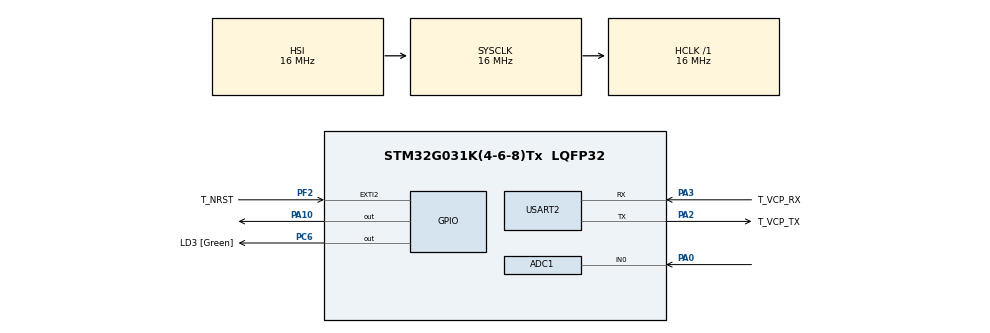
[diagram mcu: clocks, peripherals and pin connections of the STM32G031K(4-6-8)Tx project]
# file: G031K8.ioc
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ADC1.Channel-0\#ChannelRegularConversion=ADC_CHANNEL_0
ADC1.NbrOfConversionFlag=1
ADC1.Rank-0\#ChannelRegularConversion=1
ADC1.SamplingTime-0\#ChannelRegularConversion=ADC_SAMPLINGTIME_COMMON_1
ADC1.SelectedChannel=ADC_CHANNEL_0
ADC1.master=1
Dma.Request0=USART2_TX
Dma.USART2_TX.0.Direction=DMA_MEMORY_TO_PERIPH
Dma.USART2_TX.0.EventEnable=DISABLE
Dma.USART2_TX.0.Instance=DMA1_Channel1
Dma.USART2_TX.0.MemDataAlignment=DMA_MDATAALIGN_BYTE
Dma.USART2_TX.0.MemInc=DMA_MINC_ENABLE
Dma.USART2_TX.0.Mode=DMA_NORMAL
Dma.USART2_TX.0.PeriphDataAlignment=DMA_PDATAALIGN_BYTE
Dma.USART2_TX.0.PeriphInc=DMA_PINC_DISABLE
Dma.USART2_TX.0.Polarity=HAL_DMAMUX_REQ_GEN_RISING
Dma.USART2_TX.0.Priority=DMA_PRIORITY_LOW
Dma.USART2_TX.0.RequestNumber=1
Dma.USART2_TX.0.SignalID=NONE
Dma.USART2_TX.0.SyncEnable=DISABLE
Dma.USART2_TX.0.SyncPolarity=HAL_DMAMUX_SYNC_NO_EVENT
Dma.USART2_TX.0.SyncRequestNumber=1
Dma.USART2_TX.0.SyncSignalID=NONE
Mcu.Family=STM32G0
Mcu.Name=STM32G031K(4-6-8)Tx
Mcu.Package=LQFP32
NVIC.DMA1_Channel1_IRQn=true\:0\:0\:false\:false\:true\:false\:true
PA0.Mode=IN0
PA0.Signal=ADC1_IN0
PA10.Signal=GPIO_Output
PA13.GPIO_Label=T_JTMS
PA13.Mode=Serial_Wire
PA13.Signal=SYS_SWDIO
PA14-BOOT0.GPIO_Label=T_JTCK
PA14-BOOT0.Mode=Serial_Wire
PA14-BOOT0.Signal=SYS_SWCLK
PA2.GPIO_Label=T_VCP_TX
PA2.GPIO_PuPd=GPIO_PULLUP
PA2.Mode=Asynchronous
PA2.Signal=USART2_TX
PA3.GPIO_Label=T_VCP_RX
PA3.GPIO_PuPd=GPIO_PULLUP
PA3.Mode=Asynchronous
PA3.Signal=USART2_RX
PC14-OSC32_IN\ (PC14).Mode=LSE-External-Oscillator
PC14-OSC32_IN\ (PC14).Signal=RCC_OSC32_IN
PC15-OSC32_OUT\ (PC15).Mode=LSE-External-Oscillator
PC15-OSC32_OUT\ (PC15).Signal=RCC_OSC32_OUT
PC6.GPIO_Label=LD3 [Green]
PC6.Signal=GPIO_Output
PF2\ -\ NRST.GPIO_Label=T_NRST
PF2\ -\ NRST.Signal=GPXTI2
ProjectManager.HeapSize=0x200
ProjectManager.StackSize=0x400
ProjectManager.TargetToolchain=STM32CubeIDE
RCC.AHBFreq_Value=16000000
RCC.CortexFreq_Value=16000000
RCC.EXTERNAL_CLOCK_VALUE=12288000
RCC.HCLKFreq_Value=16000000
RCC.HSE_VALUE=8000000
RCC.HSI_VALUE=16000000
RCC.SYSCLKFreq_VALUE=16000000
RCC.VCOOutputFreq_Value=128000000
USART2.VirtualMode-Asynchronous=VM_ASYNC
USART2.WordLength=WORDLENGTH_7B
board=NUCLEO-G031K8

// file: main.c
/* USER CODE BEGIN Header */
/**
  ******************************************************************************
  * @file           : main.c
  * @brief          : Main program body
  ******************************************************************************
  * @attention
  *
  * <h2><center>&copy; Copyright (c) 2020 STMicroelectronics.
  * All rights reserved.</center></h2>
  *
  * This software component is licensed by ST under BSD 3-Clause license,
  * the "License"; You may not use this file except in compliance with the
  * License. You may obtain a copy of the License at:
  *                        opensource.org/licenses/BSD-3-Clause
  *
  ******************************************************************************
  */
/* USER CODE END Header */
#include "main.h"

/* USER CODE BEGIN Includes */
#include <string.h>
#include <stdio.h>
/* USER CODE END Includes */

ADC_HandleTypeDef hadc1;

UART_HandleTypeDef huart2;
DMA_HandleTypeDef hdma_usart2_tx;

void SystemClock_Config(void);
static void MX_GPIO_Init(void);
static void MX_DMA_Init(void);
static void MX_USART2_UART_Init(void);
static void MX_ADC1_Init(void);
/* USER CODE BEGIN PFP */
void DMATransferComplete(DMA_HandleTypeDef *hdma);
/* USER CODE END PFP */

int main(void)
{
  /* USER CODE BEGIN 1 */
  char msg[] =  "Long boat holystone pirate log driver hulk nipperkin cog. " \
				"Buccaneer me lass poop deck spyglass maroon jib spike. Come" \
				"about maroon skysail Corsair bilge water Arr long clothes " \
				"transom.\r\n";
  /* USER CODE END 1 */

  /* MCU Configuration--------------------------------------------------------*/

  /* Reset of all peripherals, Initializes the Flash interface and the Systick. */
  HAL_Init();

  /* Configure the system clock */
  SystemClock_Config();

  /* Initialize all configured peripherals */
  MX_GPIO_Init();
  MX_DMA_Init();
  MX_USART2_UART_Init();
  MX_ADC1_Init();
  /* USER CODE BEGIN 2 */
  HAL_DMA_RegisterCallback(&hdma_usart2_tx, HAL_DMA_XFER_CPLT_CB_ID, &DMATransferComplete);
  /* USER CODE END 2 */

  /* Infinite loop */
  /* USER CODE BEGIN WHILE */
  while (1)
  {
	huart2.Instance->CR3 |= USART_CR3_DMAT;
	HAL_DMA_Start_IT(&hdma_usart2_tx, (uint32_t)msg,
					(uint32_t)&huart2.Instance->TDR, strlen(msg));

	HAL_Delay(1000);

    /* USER CODE END WHILE */

  }
}

void SystemClock_Config(void)
{
  RCC_OscInitTypeDef RCC_OscInitStruct = {0};
  RCC_ClkInitTypeDef RCC_ClkInitStruct = {0};
  RCC_PeriphCLKInitTypeDef PeriphClkInit = {0};

  /** Configure the main internal regulator output voltage
  */
  HAL_PWREx_ControlVoltageScaling(PWR_REGULATOR_VOLTAGE_SCALE1);
  /** Initializes the RCC Oscillators according to the specified parameters
  * in the RCC_OscInitTypeDef structure.
  */
  RCC_OscInitStruct.OscillatorType = RCC_OSCILLATORTYPE_HSI;
  RCC_OscInitStruct.HSIState = RCC_HSI_ON;
  RCC_OscInitStruct.HSIDiv = RCC_HSI_DIV1;
  RCC_OscInitStruct.HSICalibrationValue = RCC_HSICALIBRATION_DEFAULT;
  RCC_OscInitStruct.PLL.PLLState = RCC_PLL_NONE;
  if (HAL_RCC_OscConfig(&RCC_OscInitStruct) != HAL_OK)
  {
    Error_Handler();
  }
  /** Initializes the CPU, AHB and APB buses clocks
  */
  RCC_ClkInitStruct.ClockType = RCC_CLOCKTYPE_HCLK|RCC_CLOCKTYPE_SYSCLK
                              |RCC_CLOCKTYPE_PCLK1;
  RCC_ClkInitStruct.SYSCLKSource = RCC_SYSCLKSOURCE_HSI;
  RCC_ClkInitStruct.AHBCLKDivider = RCC_SYSCLK_DIV1;
  RCC_ClkInitStruct.APB1CLKDivider = RCC_HCLK_DIV1;

  if (HAL_RCC_ClockConfig(&RCC_ClkInitStruct, FLASH_LATENCY_0) != HAL_OK)
  {
    Error_Handler();
  }
  /** Initializes the peripherals clocks
  */
  PeriphClkInit.PeriphClockSelection = RCC_PERIPHCLK_ADC;
  PeriphClkInit.AdcClockSelection = RCC_ADCCLKSOURCE_SYSCLK;
  if (HAL_RCCEx_PeriphCLKConfig(&PeriphClkInit) != HAL_OK)
  {
    Error_Handler();
  }
}

static void MX_ADC1_Init(void)
{

  ADC_ChannelConfTypeDef sConfig = {0};

  /** Configure the global features of the ADC (Clock, Resolution, Data Alignment and number of conversion)
  */
  hadc1.Instance = ADC1;
  hadc1.Init.ClockPrescaler = ADC_CLOCK_SYNC_PCLK_DIV2;
  hadc1.Init.Resolution = ADC_RESOLUTION_12B;
  hadc1.Init.DataAlign = ADC_DATAALIGN_RIGHT;
  hadc1.Init.ScanConvMode = ADC_SCAN_DISABLE;
  hadc1.Init.EOCSelection = ADC_EOC_SINGLE_CONV;
  hadc1.Init.LowPowerAutoWait = DISABLE;
  hadc1.Init.LowPowerAutoPowerOff = DISABLE;
  hadc1.Init.ContinuousConvMode = DISABLE;
  hadc1.Init.NbrOfConversion = 1;
  hadc1.Init.DiscontinuousConvMode = DISABLE;
  hadc1.Init.ExternalTrigConv = ADC_SOFTWARE_START;
  hadc1.Init.ExternalTrigConvEdge = ADC_EXTERNALTRIGCONVEDGE_NONE;
  hadc1.Init.DMAContinuousRequests = DISABLE;
  hadc1.Init.Overrun = ADC_OVR_DATA_PRESERVED;
  hadc1.Init.SamplingTimeCommon1 = ADC_SAMPLETIME_1CYCLE_5;
  hadc1.Init.SamplingTimeCommon2 = ADC_SAMPLETIME_1CYCLE_5;
  hadc1.Init.OversamplingMode = DISABLE;
  hadc1.Init.TriggerFrequencyMode = ADC_TRIGGER_FREQ_HIGH;
  if (HAL_ADC_Init(&hadc1) != HAL_OK)
  {
    Error_Handler();
  }
  /** Configure Regular Channel
  */
  sConfig.Channel = ADC_CHANNEL_0;
  sConfig.Rank = ADC_REGULAR_RANK_1;
  sConfig.SamplingTime = ADC_SAMPLINGTIME_COMMON_1;
  if (HAL_ADC_ConfigChannel(&hadc1, &sConfig) != HAL_OK)
  {
    Error_Handler();
  }

}

static void MX_USART2_UART_Init(void)
{

  huart2.Instance = USART2;
  huart2.Init.BaudRate = 115200;
  huart2.Init.WordLength = UART_WORDLENGTH_7B;
  huart2.Init.StopBits = UART_STOPBITS_1;
  huart2.Init.Parity = UART_PARITY_NONE;
  huart2.Init.Mode = UART_MODE_TX_RX;
  huart2.Init.HwFlowCtl = UART_HWCONTROL_NONE;
  huart2.Init.OverSampling = UART_OVERSAMPLING_16;
  huart2.Init.OneBitSampling = UART_ONE_BIT_SAMPLE_DISABLE;
  huart2.Init.ClockPrescaler = UART_PRESCALER_DIV1;
  huart2.AdvancedInit.AdvFeatureInit = UART_ADVFEATURE_NO_INIT;
  if (HAL_UART_Init(&huart2) != HAL_OK)
  {
    Error_Handler();
  }

}

static void MX_DMA_Init(void)
{

  /* DMA controller clock enable */
  __HAL_RCC_DMA1_CLK_ENABLE();

  /* DMA interrupt init */
  /* DMA1_Channel1_IRQn interrupt configuration */
  HAL_NVIC_SetPriority(DMA1_Channel1_IRQn, 0, 0);
  HAL_NVIC_EnableIRQ(DMA1_Channel1_IRQn);

}

static void MX_GPIO_Init(void)
{
  GPIO_InitTypeDef GPIO_InitStruct = {0};

  /* GPIO Ports Clock Enable */
  __HAL_RCC_GPIOC_CLK_ENABLE();
  __HAL_RCC_GPIOF_CLK_ENABLE();
  __HAL_RCC_GPIOA_CLK_ENABLE();

  /*Configure GPIO pin Output Level */
  HAL_GPIO_WritePin(LD3_GPIO_Port, LD3_Pin, GPIO_PIN_RESET);

  /*Configure GPIO pin Output Level */
  HAL_GPIO_WritePin(GPIOA, GPIO_PIN_10, GPIO_PIN_RESET);

  /*Configure GPIO pin : T_NRST_Pin */
  GPIO_InitStruct.Pin = T_NRST_Pin;
  GPIO_InitStruct.Mode = GPIO_MODE_IT_RISING;
  GPIO_InitStruct.Pull = GPIO_NOPULL;
  HAL_GPIO_Init(T_NRST_GPIO_Port, &GPIO_InitStruct);

  /*Configure GPIO pin : LD3_Pin */
  GPIO_InitStruct.Pin = LD3_Pin;
  GPIO_InitStruct.Mode = GPIO_MODE_OUTPUT_PP;
  GPIO_InitStruct.Pull = GPIO_NOPULL;
  GPIO_InitStruct.Speed = GPIO_SPEED_FREQ_LOW;
  HAL_GPIO_Init(LD3_GPIO_Port, &GPIO_InitStruct);

  /*Configure GPIO pin : PA10 */
  GPIO_InitStruct.Pin = GPIO_PIN_10;
  GPIO_InitStruct.Mode = GPIO_MODE_OUTPUT_PP;
  GPIO_InitStruct.Pull = GPIO_NOPULL;
  GPIO_InitStruct.Speed = GPIO_SPEED_FREQ_LOW;
  HAL_GPIO_Init(GPIOA, &GPIO_InitStruct);

}

/* USER CODE BEGIN 4 */
void DMATransferComplete(DMA_HandleTypeDef *hdma) {

  // Disable UART DMA mode
  huart2.Instance->CR3 &= ~USART_CR3_DMAT;

  // Toggle LD2
  HAL_GPIO_TogglePin(LD3_GPIO_Port, LD3_Pin);
}
/* USER CODE END 4 */

void Error_Handler(void)
{
  __disable_irq();
  while (1)
  {
  }
}

/************************ (C) COPYRIGHT STMicroelectronics *****END OF FILE****/
